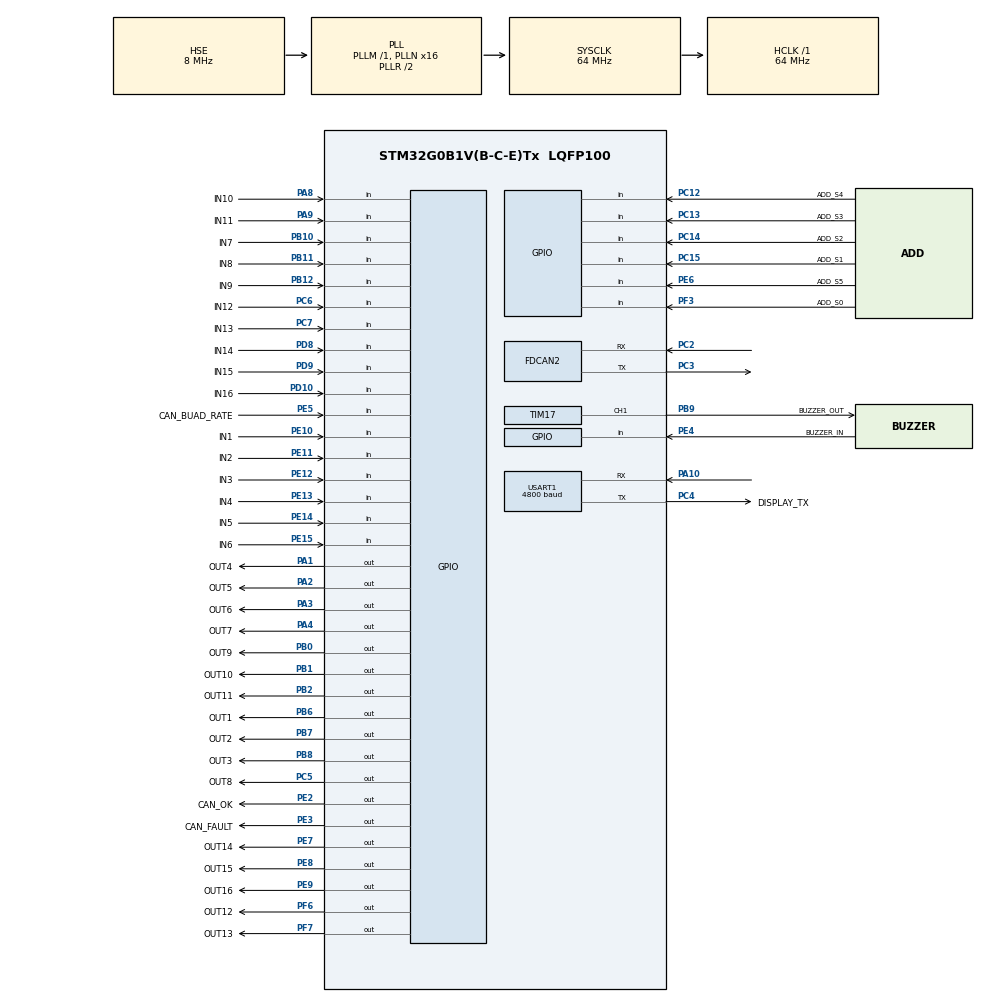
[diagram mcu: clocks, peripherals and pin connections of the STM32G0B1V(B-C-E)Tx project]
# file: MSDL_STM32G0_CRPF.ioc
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VP_TIM17_VS_ClockSourceINT.Mode=Enable_Timer
FDCAN2.DataPrescaler=32
PB10.GPIO_PuPd=GPIO_PULLUP
FREERTOS.configUSE_DAEMON_TASK_STARTUP_HOOK=1
PC12.Signal=GPIO_Input
NVIC.TIM17_FDCAN_IT1_IRQn=true\:3\:0\:false\:false\:true\:true\:true\:true
PE8.GPIO_PuPd=GPIO_PULLUP
PA3.GPIO_PuPd=GPIO_PULLUP
PC6.GPIO_Label=IN12
PE10.GPIO_PuPd=GPIO_PULLUP
PB6.GPIO_Label=OUT1
PD10.GPIO_PuPd=GPIO_PULLUP
PE6.GPIO_Label=ADD_S5
PF0-OSC_IN\ (PF0).Signal=RCC_OSC_IN
PF6.GPIO_Label=OUT12
RCC.SYSCLKSource=RCC_SYSCLKSOURCE_PLLCLK
PF7.Signal=GPIO_Output
PB6.Signal=GPIO_Output
PC7.Signal=GPIO_Input
PC3.Signal=FDCAN2_TX
PD8.Signal=GPIO_Input
PE5.Signal=GPIO_Input
PA1.GPIO_PuPd=GPIO_PULLUP
PB2.Signal=GPIO_Output
TIM17.Channel=TIM_CHANNEL_1
PB12.GPIO_Label=IN9
PC4.GPIO_Label=DISPLAY_TX
PE9.Signal=GPIO_Output
PB1.GPIO_Label=OUT10
PE4.GPIO_Label=BUZZER_IN
FDCAN2.NominalSyncJumpWidth=1
PE2.Signal=GPIO_Output
PA8.Signal=GPIO_Input
PF3.Signal=GPIO_Input
PE10.Signal=GPIO_Input
PB2.GPIO_PuPd=GPIO_PULLUP
PB9.Signal=S_TIM17_CH1
Mcu.Package=LQFP100
PB1.Signal=GPIO_Output
NVIC.TimeBase=TIM1_BRK_UP_TRG_COM_IRQn
NVIC.TimeBaseIP=TIM1
PF3.GPIO_PuPd=GPIO_PULLUP
PA10.Signal=USART1_RX
PE12.GPIO_Label=IN3
PC6.GPIO_PuPd=GPIO_PULLUP
VP_TIM14_VS_ClockSourceINT.Mode=Enable_Timer
PC12.GPIO_PuPd=GPIO_PULLUP
PE10.GPIO_Label=IN1
PE6.GPIO_PuPd=GPIO_PULLUP
PD9.GPIO_PuPd=GPIO_PULLUP
PA4.GPIO_Label=OUT7
PC4.Mode=Asynchronous
RCC.HSI48_VALUE=48000000
PE12.GPIO_PuPd=GPIO_PULLUP
PB7.GPIO_PuPd=GPIO_PULLUP
FDCAN2.TransmitPause=ENABLE
PC15-OSC32_OUT\ (PC15).GPIO_Label=ADD_S1
FREERTOS.Tasks01=tpdoRequesterT,24,512,tpdoRequester,Default,NULL,Dynamic,NULL,NULL;CanOpenMenagerT,27,1024,CanOpenMenager,Default,NULL,Dynamic,NULL,NULL;InputCheckT,26,512,InputCheck,Default,NULL,Dynamic,NULL,NULL
PD9.GPIO_Label=IN15
TIM17.Pulse=185
FDCAN2.ProtocolException=ENABLE
PC13.Signal=GPIO_Input
PA9.GPIO_Label=IN11
PB6.GPIO_PuPd=GPIO_PULLUP
FREERTOS.configCHECK_FOR_STACK_OVERFLOW=1
PB8.GPIO_PuPd=GPIO_PULLUP
PC2.Signal=FDCAN2_RX
PC6.Signal=GPIO_Input
PB11.GPIO_Label=IN8
PC14-OSC32_IN\ (PC14).GPIO_Label=ADD_S2
PF0-OSC_IN\ (PF0).Mode=HSE-External-Oscillator
PD10.Signal=GPIO_Input
FDCAN2.NominalTimeSeg1=13
PB8.GPIO_Label=OUT3
PA8.GPIO_Label=IN10
PE8.GPIO_Label=OUT15
PA9.Signal=GPIO_Input
FDCAN2.NominalPrescaler=32
NVIC.TIM16_FDCAN_IT0_IRQn=true\:3\:0\:false\:false\:true\:true\:true\:true
PC7.GPIO_PuPd=GPIO_PULLUP
PE9.GPIO_Label=OUT16
PB10.Signal=GPIO_Input
PE14.Signal=GPIO_Input
PE15.Signal=GPIO_Input
USART1.Mode=MODE_TX
PE8.Signal=GPIO_Output
PA1.GPIO_Label=OUT4
PE3.GPIO_PuPd=GPIO_PULLUP
PA13.Mode=Serial_Wire
TIM14.Prescaler=63
PF7.GPIO_PuPd=GPIO_PULLUP
PC7.GPIO_Label=IN13
PA4.Signal=GPIO_Output
PE13.GPIO_Label=IN4
PF1-OSC_OUT\ (PF1).Signal=RCC_OSC_OUT
PE5.GPIO_Label=CAN_BUAD_RATE
PC12.GPIO_Label=ADD_S4
ProjectManager.HeapSize=0x200
SH.S_TIM17_CH1.0=TIM17_CH1,PWM Generation1 CH1
PF6.GPIO_PuPd=GPIO_PULLUP
PE3.Signal=GPIO_Output
PB12.GPIO_PuPd=GPIO_PULLUP
PB0.Signal=GPIO_Output
NVIC.TIM1_BRK_UP_TRG_COM_IRQn=true\:0\:0\:false\:false\:true\:false\:false\:true
Mcu.Family=STM32G0
PC3.Mode=FDCAN_Activate
PA2.GPIO_PuPd=GPIO_PULLUP
PE7.GPIO_PuPd=GPIO_PULLUP
TIM17.Prescaler=63
RCC.CortexFreq_Value=64000000
PC14-OSC32_IN\ (PC14).GPIO_PuPd=GPIO_PULLUP
TIM14.AutoReloadPreload=TIM_AUTORELOAD_PRELOAD_ENABLE
PE11.GPIO_Label=IN2
USART1.BaudRate=4800
VP_IWDG_VS_IWDG.Mode=IWDG_Activate
PA14-BOOT0.Mode=Serial_Wire
PB0.GPIO_Label=OUT9
PB11.GPIO_PuPd=GPIO_PULLUP
PC13.GPIO_Label=ADD_S3
PD8.GPIO_PuPd=GPIO_PULLUP
PB11.Signal=GPIO_Input
ProjectManager.StackSize=0x400
VP_FREERTOS_VS_CMSIS_V2.Mode=CMSIS_V2
TIM17.AutoReloadPreload=TIM_AUTORELOAD_PRELOAD_ENABLE
PE5.GPIO_PuPd=GPIO_PULLUP
PE11.GPIO_PuPd=GPIO_PULLUP
PB1.GPIO_PuPd=GPIO_PULLUP
RCC.HCLKFreq_Value=64000000
FREERTOS.configUSE_MALLOC_FAILED_HOOK=1
RCC.AHBFreq_Value=64000000
PA14-BOOT0.Signal=SYS_SWCLK
RCC.HSE_VALUE=8000000
PA4.GPIO_PuPd=GPIO_PULLUP
TIM14.Period=999
PE13.GPIO_PuPd=GPIO_PULLUP
TIM17.Period=369
PE13.Signal=GPIO_Input
PF7.GPIO_Label=OUT13
VP_SYS_VS_tim1.Mode=TIM1
PC13.GPIO_PuPd=GPIO_PULLUP
VP_SYS_VS_DBSignals.Mode=DisableDeadBatterySignals
PB7.Signal=GPIO_Output
PE4.Signal=GPIO_Input
PF1-OSC_OUT\ (PF1).Mode=HSE-External-Oscillator
FREERTOS.configTOTAL_HEAP_SIZE=16380
PB7.GPIO_Label=OUT2
PA2.GPIO_Label=OUT5
FREERTOS.configUSE_TICK_HOOK=1
PC5.Signal=GPIO_Output
PE7.Signal=GPIO_Output
PF3.GPIO_Label=ADD_S0
PE2.GPIO_Label=CAN_OK
PA3.Signal=GPIO_Output
RCC.PLLSourceVirtual=RCC_PLLSOURCE_HSE
NVIC.TIM14_IRQn=true\:3\:0\:false\:false\:true\:true\:true\:true
PB9.GPIO_Label=BUZZER_OUT
PA10.Mode=Asynchronous
PC4.Signal=USART1_TX
RCC.EXTERNAL_CLOCK_VALUE=48000
PC2.Mode=FDCAN_Activate
PE14.GPIO_Label=IN5
PC15-OSC32_OUT\ (PC15).Signal=GPIO_Input
PD9.Signal=GPIO_Input
PC5.GPIO_PuPd=GPIO_PULLUP
PA9.GPIO_PuPd=GPIO_PULLUP
PD8.GPIO_Label=IN14
USART1.VirtualMode-Asynchronous=VM_ASYNC
PA13.Signal=SYS_SWDIO
FREERTOS.configUSE_IDLE_HOOK=1
PE15.GPIO_Label=IN6
PF6.Signal=GPIO_Output
ProjectManager.TargetToolchain=STM32CubeIDE
PB10.GPIO_Label=IN7
FDCAN2.DataTimeSeg1=13
FDCAN2.DataTimeSeg2=2
RCC.USBFreq_Value=48000000
PD10.GPIO_Label=IN16
PE11.Signal=GPIO_Input
RCC.LSE_VALUE=32768
PA1.Signal=GPIO_Output
board=custom
RCC.VCOOutputFreq_Value=128000000
PC15-OSC32_OUT\ (PC15).GPIO_PuPd=GPIO_PULLUP
RCC.ADCFreq_Value=64000000
PE14.GPIO_PuPd=GPIO_PULLUP
PE6.Signal=GPIO_Input
Mcu.Name=STM32G0B1V(B-C-E)Tx
PE7.GPIO_Label=OUT14
PE12.Signal=GPIO_Input
PA2.Signal=GPIO_Output
RCC.SYSCLKFreq_VALUE=64000000
PC5.GPIO_Label=OUT8
PC14-OSC32_IN\ (PC14).Signal=GPIO_Input
FDCAN2.AutoRetransmission=ENABLE
PB2.GPIO_Label=OUT11
PE15.GPIO_PuPd=GPIO_PULLUP
RCC.HSI_VALUE=16000000
PA8.GPIO_PuPd=GPIO_PULLUP
RCC.PLLN=16
PB8.Signal=GPIO_Output
PE3.GPIO_Label=CAN_FAULT
PB12.Signal=GPIO_Input
PB0.GPIO_PuPd=GPIO_PULLUP
PA3.GPIO_Label=OUT6
PE9.GPIO_PuPd=GPIO_PULLUP

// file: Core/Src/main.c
/* USER CODE BEGIN Header */
/**
  ******************************************************************************
  * @file           : main.c
  * @brief          : Main program body
  ******************************************************************************
  * @attention
  *
  * <h2><center>&copy; Copyright (c) 2025 STMicroelectronics.
  * All rights reserved.</center></h2>
  *
  * This software component is licensed by ST under BSD 3-Clause license,
  * the "License"; You may not use this file except in compliance with the
  * License. You may obtain a copy of the License at:
  *                        opensource.org/licenses/BSD-3-Clause
  *
  ******************************************************************************
  */
/* USER CODE END Header */
#include "main.h"
#include "cmsis_os.h"
#include "fdcan.h"
#include "iwdg.h"
#include "tim.h"
#include "usart.h"
#include "gpio.h"

/* USER CODE BEGIN Includes */
#include "CO_app_STM32.h"
#include "softwareTimer_ms.h"
#include "conf_inputs.h"
/* USER CODE END Includes */

void SystemClock_Config(void);
void MX_FREERTOS_Init(void);

int main(void)
{

  /* MCU Configuration--------------------------------------------------------*/

  /* Reset of all peripherals, Initializes the Flash interface and the Systick. */
  HAL_Init();

  /* Configure the system clock */
  SystemClock_Config();

  /* Initialize all configured peripherals */
  MX_GPIO_Init();
  MX_FDCAN2_Init();
  MX_TIM14_Init();
//  MX_IWDG_Init();
  MX_TIM17_Init();
  MX_USART1_UART_Init();
  /* USER CODE BEGIN 2 */
	readBuzzerInput();
  /* USER CODE END 2 */

  /* Init scheduler */
  osKernelInitialize();  /* Call init function for freertos objects (in freertos.c) */
  MX_FREERTOS_Init();
  /* Start scheduler */
  osKernelStart();

  /* We should never get here as control is now taken by the scheduler */
  /* Infinite loop */
  while (1)
  {

  }
}

void SystemClock_Config(void)
{
  RCC_OscInitTypeDef RCC_OscInitStruct = {0};
  RCC_ClkInitTypeDef RCC_ClkInitStruct = {0};
  RCC_PeriphCLKInitTypeDef PeriphClkInit = {0};

  /** Configure the main internal regulator output voltage
  */
  HAL_PWREx_ControlVoltageScaling(PWR_REGULATOR_VOLTAGE_SCALE1);
  /** Initializes the RCC Oscillators according to the specified parameters
  * in the RCC_OscInitTypeDef structure.
  */
  RCC_OscInitStruct.OscillatorType = RCC_OSCILLATORTYPE_LSI|RCC_OSCILLATORTYPE_HSE;
  RCC_OscInitStruct.HSEState = RCC_HSE_ON;
  RCC_OscInitStruct.LSIState = RCC_LSI_ON;
  RCC_OscInitStruct.PLL.PLLState = RCC_PLL_ON;
  RCC_OscInitStruct.PLL.PLLSource = RCC_PLLSOURCE_HSE;
  RCC_OscInitStruct.PLL.PLLM = RCC_PLLM_DIV1;
  RCC_OscInitStruct.PLL.PLLN = 16;
  RCC_OscInitStruct.PLL.PLLP = RCC_PLLP_DIV2;
  RCC_OscInitStruct.PLL.PLLQ = RCC_PLLQ_DIV2;
  RCC_OscInitStruct.PLL.PLLR = RCC_PLLR_DIV2;
  if (HAL_RCC_OscConfig(&RCC_OscInitStruct) != HAL_OK)
  {
    Error_Handler();
  }
  /** Initializes the CPU, AHB and APB buses clocks
  */
  RCC_ClkInitStruct.ClockType = RCC_CLOCKTYPE_HCLK|RCC_CLOCKTYPE_SYSCLK
                              |RCC_CLOCKTYPE_PCLK1;
  RCC_ClkInitStruct.SYSCLKSource = RCC_SYSCLKSOURCE_PLLCLK;
  RCC_ClkInitStruct.AHBCLKDivider = RCC_SYSCLK_DIV1;
  RCC_ClkInitStruct.APB1CLKDivider = RCC_HCLK_DIV1;

  if (HAL_RCC_ClockConfig(&RCC_ClkInitStruct, FLASH_LATENCY_2) != HAL_OK)
  {
    Error_Handler();
  }
  /** Initializes the peripherals clocks
  */
  PeriphClkInit.PeriphClockSelection = RCC_PERIPHCLK_FDCAN|RCC_PERIPHCLK_USART1;
  PeriphClkInit.Usart1ClockSelection = RCC_USART1CLKSOURCE_PCLK1;
  PeriphClkInit.FdcanClockSelection = RCC_FDCANCLKSOURCE_PCLK1;

  if (HAL_RCCEx_PeriphCLKConfig(&PeriphClkInit) != HAL_OK)
  {
    Error_Handler();
  }
}

 /**
  * @brief  Period elapsed callback in non blocking mode
  * @note   This function is called  when TIM1 interrupt took place, inside
  * HAL_TIM_IRQHandler(). It makes a direct call to HAL_IncTick() to increment
  * a global variable "uwTick" used as application time base.
  * @param  htim : TIM handle
  * @retval None
  */
void HAL_TIM_PeriodElapsedCallback(TIM_HandleTypeDef *htim)
{
  if (htim->Instance == TIM1) {
    HAL_IncTick();
  }
  /* USER CODE BEGIN Callback 1 */
  if(htim == canopenNodeSTM32->timerHandle)
  {
	  timersHandler();
  }

  /* USER CODE END Callback 1 */
}

void Error_Handler(void)
{
  __disable_irq();
  while (1)
  {
  }
}

/************************ (C) COPYRIGHT STMicroelectronics *****END OF FILE****/

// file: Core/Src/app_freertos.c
/* USER CODE BEGIN Header */
/**
  ******************************************************************************
  * File Name          : app_freertos.c
  * Description        : Code for freertos applications
  ******************************************************************************
  * @attention
  *
  * <h2><center>&copy; Copyright (c) 2025 STMicroelectronics.
  * All rights reserved.</center></h2>
  *
  * This software component is licensed by ST under Ultimate Liberty license
  * SLA0044, the "License"; You may not use this file except in compliance with
  * the License. You may obtain a copy of the License at:
  *                             www.st.com/SLA0044
  *
  ******************************************************************************
  */
/* USER CODE END Header */

#include "FreeRTOS.h"
#include "task.h"
#include "main.h"
#include "cmsis_os.h"

/* USER CODE BEGIN Includes */
#include "CO_app_STM32.h"
#include "tim.h"
#include "fdcan.h"
#include "conf_inputs.h"
#include "NMT_functions.h"
#include "OD.h"
#include "IO_MappingFunctions.h"
#include "softwareTimer_ms.h"
#include "DigitalInputs.h"
#include "DigitalOutput.h"
#include "displayCommunication.h"
#include "iwdg.h"
/* USER CODE END Includes */

/* USER CODE BEGIN PM */
#define CANOPEN_TASK_DELAY_MS 			1
#define TPDO_REQUESTER_TASK_DELAY_MS 	1
#define INPUT_CHECK_TASK_DELAY_MS		20

#define COB_ID_ZERO						0x480
#define TPDO_INDEX						0x1800

#define BUZZER_TIME						100 //ms
/* USER CODE END PM */

/* Definitions for tpdoRequesterT */
osThreadId_t tpdoRequesterTHandle;
const osThreadAttr_t tpdoRequesterT_attributes = {
  .name = "tpdoRequesterT",
  .priority = (osPriority_t) osPriorityNormal,
  .stack_size = 512 * 4
};
/* Definitions for CanOpenMenagerT */
osThreadId_t CanOpenMenagerTHandle;
const osThreadAttr_t CanOpenMenagerT_attributes = {
  .name = "CanOpenMenagerT",
  .priority = (osPriority_t) osPriorityNormal3,
  .stack_size = 1024 * 4
};
/* Definitions for InputCheckT */
osThreadId_t InputCheckTHandle;
const osThreadAttr_t InputCheckT_attributes = {
  .name = "InputCheckT",
  .priority = (osPriority_t) osPriorityNormal2,
  .stack_size = 512 * 4
};

void tpdoRequester(void *argument);
void CanOpenMenager(void *argument);
void InputCheck(void *argument);

void MX_FREERTOS_Init(void); /* (MISRA C 2004 rule 8.1) */

/* Hook prototypes */
void vApplicationIdleHook(void);
void vApplicationTickHook(void);
void vApplicationStackOverflowHook(xTaskHandle xTask, signed char *pcTaskName);
void vApplicationMallocFailedHook(void);
void vApplicationDaemonTaskStartupHook(void);

/* USER CODE BEGIN 2 */
void vApplicationIdleHook( void )
{
   /* vApplicationIdleHook() will only be called if configUSE_IDLE_HOOK is set
   to 1 in FreeRTOSConfig.h. It will be called on each iteration of the idle
   task. It is essential that code added to this hook function never attempts
   to block in any way (for example, call xQueueReceive() with a block time
   specified, or call vTaskDelay()). If the application makes use of the
   vTaskDelete() API function (as this demo application does) then it is also
   important that vApplicationIdleHook() is permitted to return to its calling
   function, because it is the responsibility of the idle task to clean up
   memory allocated by the kernel to any task that has since been deleted. */
}
/* USER CODE END 2 */

/* USER CODE BEGIN 3 */
void vApplicationTickHook( void )
{
   /* This function will be called by each tick interrupt if
   configUSE_TICK_HOOK is set to 1 in FreeRTOSConfig.h. User code can be
   added here, but the tick hook is called from an interrupt context, so
   code must not attempt to block, and only the interrupt safe FreeRTOS API
   functions can be used (those that end in FromISR()). */
}
/* USER CODE END 3 */

/* USER CODE BEGIN 4 */
void vApplicationStackOverflowHook(xTaskHandle xTask, signed char *pcTaskName)
{
   /* Run time stack overflow checking is performed if
   configCHECK_FOR_STACK_OVERFLOW is defined to 1 or 2. This hook function is
   called if a stack overflow is detected. */
}
/* USER CODE END 4 */

/* USER CODE BEGIN 5 */
void vApplicationMallocFailedHook(void)
{
   /* vApplicationMallocFailedHook() will only be called if
   configUSE_MALLOC_FAILED_HOOK is set to 1 in FreeRTOSConfig.h. It is a hook
   function that will get called if a call to pvPortMalloc() fails.
   pvPortMalloc() is called internally by the kernel whenever a task, queue,
   timer or semaphore is created. It is also called by various parts of the
   demo application. If heap_1.c or heap_2.c are used, then the size of the
   heap available to pvPortMalloc() is defined by configTOTAL_HEAP_SIZE in
   FreeRTOSConfig.h, and the xPortGetFreeHeapSize() API function can be used
   to query the size of free heap space that remains (although it does not
   provide information on how the remaining heap might be fragmented). */
}
/* USER CODE END 5 */

/* USER CODE BEGIN DAEMON_TASK_STARTUP_HOOK */
void vApplicationDaemonTaskStartupHook(void)
{
}
/* USER CODE END DAEMON_TASK_STARTUP_HOOK */

void MX_FREERTOS_Init(void) {

  /* Create the thread(s) */
  /* creation of tpdoRequesterT */
  tpdoRequesterTHandle = osThreadNew(tpdoRequester, NULL, &tpdoRequesterT_attributes);

  /* creation of CanOpenMenagerT */
  CanOpenMenagerTHandle = osThreadNew(CanOpenMenager, NULL, &CanOpenMenagerT_attributes);

  /* creation of InputCheckT */
  InputCheckTHandle = osThreadNew(InputCheck, NULL, &InputCheckT_attributes);

}

void tpdoRequester(void *argument)
{
  /* USER CODE BEGIN tpdoRequester */
	uint8_t *flags6010 = OD_getFlagsPDO(OD_find(OD,0x6010));
  /* Infinite loop */
  for(;;)
  {
	  HAL_IWDG_Refresh(&hiwdg);
	  osDelay(pdMS_TO_TICKS(TPDO_REQUESTER_TASK_DELAY_MS));

	  if(pendingVirtualInputMappings == 0) //check if there is any virtual input mapping pending
	  {
		  continue;
	  }

	  if(OD_TPDOtransmitted(flags6010, 0) == false) //check if there is any 6010 Od tpdo transmited
	  {
		  continue;
	  }

	  if(canOpenNodeSTM32.canOpenStack->TPDO[0].CANtxBuff->bufferFull == true)
	  {
		  continue;
	  }

	  OD_requestTPDO(flags6010, 0);

  }
  /* USER CODE END tpdoRequester */
}

void CanOpenMenager(void *argument)
{
  /* USER CODE BEGIN CanOpenMenager */
  setCanOpenID();

  OD_extension_t virtualInputMappingExtension = {0, virtualInputMappingRead, OD_writeOriginal, 0};
  ODR_t result = OD_extension_init(OD_find(OD, 0x6010), &virtualInputMappingExtension);

  OD_extension_t virtualOutputMappingExtension = {0, OD_readOriginal, virtualOutputMappingWrite, 0};
  result = OD_extension_init(OD_find(OD, 0x6011), &virtualOutputMappingExtension);

  OD_extension_t outputGroupExtension = {0, OD_readOriginal, outputGroupWrite, 0};
  result  = OD_extension_init(OD_find(OD, 0x6200), &outputGroupExtension);

  OD_extension_t saveParametersExtension = {0, OD_readOriginal, saveParametersWrite, 0};
  result  = OD_extension_init(OD_find(OD, 0x1010), &saveParametersExtension);

  canOpenNodeSTM32.CANHandle = &hfdcan2;
  canOpenNodeSTM32.HWInitFunction = MX_FDCAN2_Init;
  canOpenNodeSTM32.timerHandle = &htim14;
  canOpenNodeSTM32.desiredNodeID = getCanOpenID();

  if(getCanOpenBaudRate() == CANOPEN_BAUDRATE_125)
  {
	  canOpenNodeSTM32.baudrate = 125;
  }
  else
  {
	  canOpenNodeSTM32.baudrate = 250;
  }

  uint32_t correctTpdo1CobId = COB_ID_ZERO + getCanOpenID();

  //Set COB-ID for TPDO
  OD_entry_t *tpdoCommEntry = OD_find(OD, TPDO_INDEX);
  if (tpdoCommEntry != NULL) {
      OD_IO_t io;

      // Get subindex 1 — COB-ID
      if (OD_getSub(tpdoCommEntry, 1, &io, 0) == ODR_OK) {
          uint32_t *cobIdPtr = (uint32_t *)io.stream.dataOrig;

          // Disable PDO temporarily (set bit 31)
          *cobIdPtr |= 0x80000000;

          // Update COB-ID
          *cobIdPtr = correctTpdo1CobId;

          // Re-enable PDO (clear bit 31)
          *cobIdPtr &= ~0x80000000;
      }
  }

  canopen_app_init(&canOpenNodeSTM32);
  CO_NMT_initCallbackChanged(canOpenNodeSTM32.canOpenStack->NMT, nmtStateChangedCallback);
  /* Infinite loop */
  for(;;)
  {
    HAL_IWDG_Refresh(&hiwdg);
	HAL_GPIO_WritePin(CAN_OK_GPIO_Port, CAN_OK_Pin , canOpenNodeSTM32.outStatusLEDGreen);
	HAL_GPIO_WritePin(CAN_FAULT_GPIO_Port, CAN_FAULT_Pin, canOpenNodeSTM32.outStatusLEDRed);

	canopen_app_interrupt();
	canopen_app_process();

	displayCommunicationHandler();

	ulTaskNotifyTake(pdTRUE, pdMS_TO_TICKS(CANOPEN_TASK_DELAY_MS));
//	osDelay(pdMS_TO_TICKS(CANOPEN_TASK_DELAY_MS));
  }

  /* USER CODE END CanOpenMenager */
}

void InputCheck(void *argument)
{
  /* USER CODE BEGIN InputCheck */
  /* Infinite loop */
  const OD_entry_t *entry = OD_find(OD, 0x6100);
  static uint16_t buzzer_counter = 0;

  for(;;)
  {
	HAL_IWDG_Refresh(&hiwdg);
	for(uint8_t subIndex = 1; subIndex <= OD_CNT_ARR_6100; ++subIndex)
	{
		if(!buzzer_counter)
		{
			HAL_TIM_PWM_Stop(&htim17, TIM_CHANNEL_1);
			HAL_GPIO_WritePin(BUZZER_OUT_GPIO_Port, BUZZER_OUT_Pin, 0);
		}
		else
		{
			buzzer_counter--;
		}

		OD_IO_t io;
		{
			ODR_t result = OD_getSub(entry, subIndex, &io, 0);
		}

		//check if input is enabled
		uint8_t enabledInput = 0;
		uint8_t *identifier = (uint8_t *)io.stream.dataOrig;
		uint8_t state = 0;

		for(uint8_t i = 0; i < 5; ++i)
		{
			if(identifier[i])
			{
				enabledInput = 1;
				break;
			}
		}

		if(enabledInput)
		{
			state = HAL_GPIO_ReadPin(digitalInput[subIndex - 1].port, digitalInput[subIndex - 1].pin);
			identifier[5] = state;
		}

		// check if input has changed
		uint8_t inputChanged = memcmp(virtualInputMapping[subIndex - 1].InputFunctionID, identifier, sizeof(virtualInputMapping[subIndex - 1].InputFunctionID)) == 0;

		if(inputChanged)
		{
			continue;
		}

		memcpy(virtualInputMapping[subIndex - 1].InputFunctionID, identifier, sizeof(virtualInputMapping[subIndex - 1].InputFunctionID));

		if((subIndex == 1 || subIndex == 2) && getBuzzerOnOff() && state)
		{
			HAL_TIM_PWM_Start(&htim17, TIM_CHANNEL_1);
			buzzer_counter = BUZZER_TIME;
		}

		if(virtualInputMapping[subIndex - 1].pending) //check if already pending
		{
			continue;
		}

		virtualInputMapping[subIndex - 1].pending = 1;
		++pendingVirtualInputMappings;

	}

    osDelay(pdMS_TO_TICKS(INPUT_CHECK_TASK_DELAY_MS));
  }
  /* USER CODE END InputCheck */
}

/************************ (C) COPYRIGHT STMicroelectronics *****END OF FILE****/
